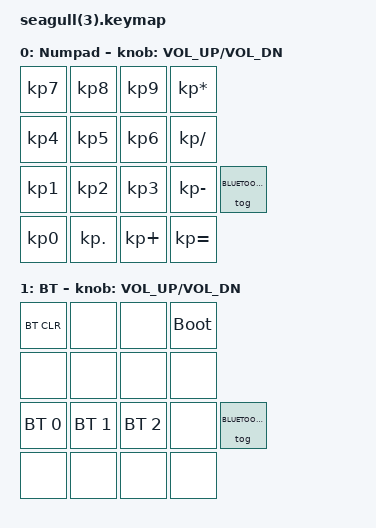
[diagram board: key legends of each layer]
#include <behaviors.dtsi>
#include <dt-bindings/zmk/keys.h>
#include <dt-bindings/zmk/bt.h>
    
#define NUMPAD 0
#define BLUETOOTH 1 

/ {
    keymap {

        compatible = "zmk,keymap";
      
    layer_numpad {
        display-name = "Numpad"; 

    // +---------------------------+                      
    // |   7  |   8  |   9  |   *  |                      
    // +------+------+------+------+
    // |   4  |   5  |   6  |   /  |                      
    // +------+------+------+------+-------+     
    // |   1  |   2  |   3  |   *  | L-BT  |                     
    // +------+------+------+------+-------+    
    // |   0  |   .  |  +   |   =  |                          
    // +------+------+------+------+  
                                        

    bindings = <   

        &kp KP_N7       &kp KP_N8        &kp KP_N9        &kp KP_MULTIPLY
        &kp KP_N4       &kp KP_N5        &kp KP_N6        &kp KP_DIVIDE
        &kp KP_N1       &kp KP_N2        &kp KP_N3        &kp KP_MINUS    &tog BLUETOOTH 
        &kp KP_N0       &kp KP_DOT       &kp KP_PLUS      &kp KP_EQUAL         
        >;

        sensor-bindings = <&inc_dec_kp C_VOL_UP C_VOL_DN>;
    };

    layer_bluetooth {     
        display-name = "BT"; 
  
    // +---------------------------+                      
    // |CLEAR |      |      |BTLDR |                      
    // +------+------+------+------+
    // |      |      |      |      |                      
    // +------+------+------+------+-------+     
    // | PF1  | PF2  |  PF3 |      | L-BT  |                      
    // +------+------+------+------+-------+    
    // |      |      |      |      |                          
    // +------+------+------+------+     
                                       

    bindings = <   

        &bt BT_CLR      &none         &none           &bootloader
        &none           &none         &none           &none  
        &bt BT_SEL 0    &bt BT_SEL 1  &bt BT_SEL 2    &none        &tog BLUETOOTH                         
        &none           &none         &none           &none            
        >;

        sensor-bindings = <&inc_dec_kp C_VOL_UP C_VOL_DN>;
    };
};
};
